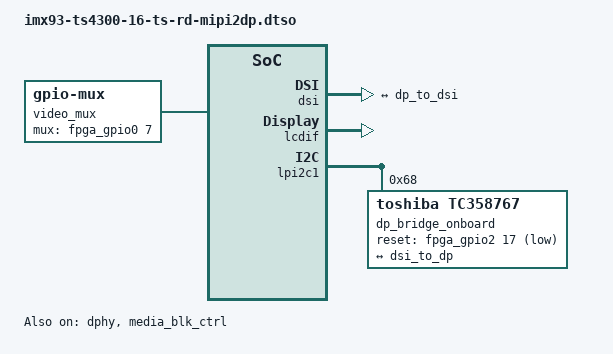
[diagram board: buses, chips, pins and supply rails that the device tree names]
// SPDX-License-Identifier: GPL-2.0 OR X11
/*
 * Copyright 2024-2025 Technologic Systems, Inc. dba embeddedTS
 */

/dts-v1/;
/plugin/;
#include <dt-bindings/gpio/gpio.h>

&{/} {
	clk_dp: clk-dp {
		compatible = "fixed-clock";
		#clock-cells = <0>;
		clock-frequency = <19200000>;
	};

	video_mux: mux-controller {
		compatible = "gpio-mux";
		#mux-state-cells = <0>;
		mux-gpios = <&fpga_gpio0 7 GPIO_ACTIVE_HIGH>;
		idle-state = <0>;
	};
};

&dphy {
	status = "okay";
};

&dsi {
	status = "okay";

	ports {
		#address-cells = <1>;
		#size-cells = <0>;
		port@1 {
			reg = <1>;

			dsi_to_dp: endpoint {
				remote-endpoint = <&dp_to_dsi>;
				data-lanes = <1 2>;
			};
		};
	};
};

&lcdif {
	status = "okay";
	assigned-clock-rates = <445333333>, <148444444>, <400000000>, <133333333>;
};

&lpi2c1 {
	status = "okay";
	#address-cells = <1>;
	#size-cells = <0>;

	dp_bridge_onboard: dp-bridge@68 {
		compatible = "toshiba,tc358767"; 
		reg = <0x68>;
		reset-gpios = <&fpga_gpio2 17 GPIO_ACTIVE_LOW>;

		clock-names = "ref";
		clocks = <&clk_dp>;

		toshiba,hpd-pin = <0>;
		status = "okay";
		mux-states = <&video_mux 0>;

		ports {
			#address-cells = <1>;
			#size-cells = <0>;

			port@1 {
				reg = <1>;

				dp_to_dsi: endpoint {
					remote-endpoint = <&dsi_to_dp>;
				};
			};
		};
	};
};

&media_blk_ctrl {
	status = "okay";
};
